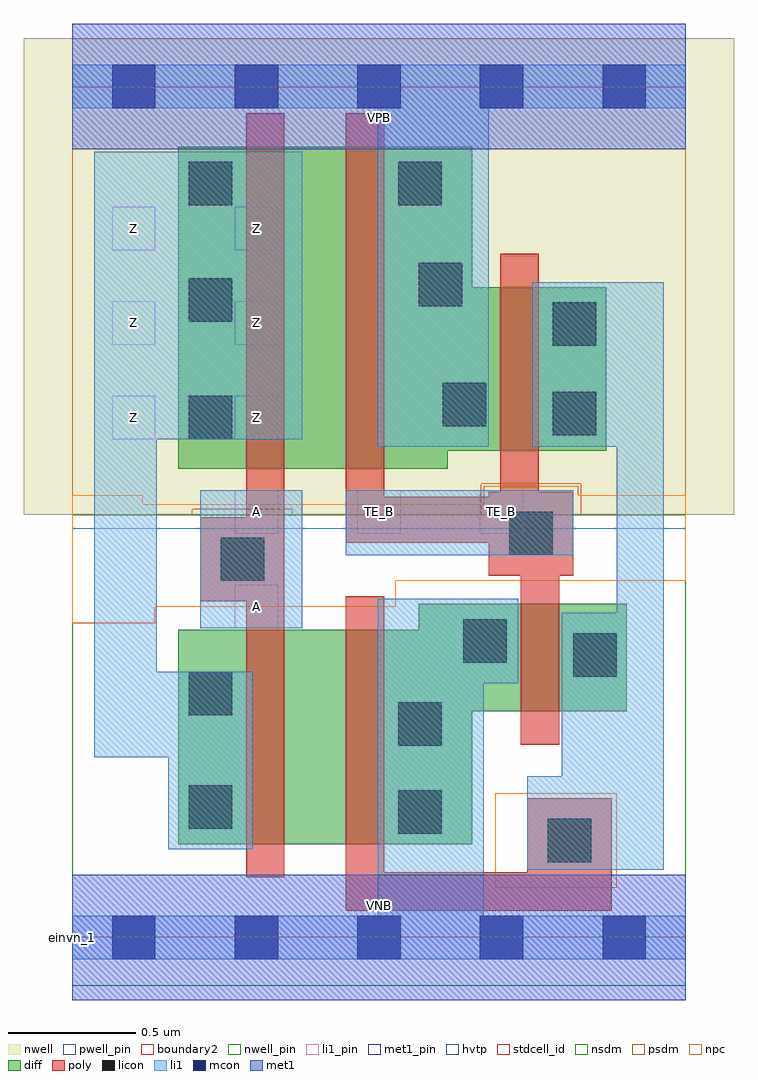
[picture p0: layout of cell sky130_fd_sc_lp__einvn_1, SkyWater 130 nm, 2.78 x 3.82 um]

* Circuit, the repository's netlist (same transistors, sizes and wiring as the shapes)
* Copyright 2020 The SkyWater PDK Authors
*
* Licensed under the Apache License, Version 2.0 (the "License");
* you may not use this file except in compliance with the License.
* You may obtain a copy of the License at
*
*     https://www.apache.org/licenses/LICENSE-2.0
*
* Unless required by applicable law or agreed to in writing, software
* distributed under the License is distributed on an "AS IS" BASIS,
* WITHOUT WARRANTIES OR CONDITIONS OF ANY KIND, either express or implied.
* See the License for the specific language governing permissions and
* limitations under the License.
*
* SPDX-License-Identifier: Apache-2.0

.SUBCKT sky130_fd_sc_lp__einvn_1 A TE_B VGND VNB VPB VPWR Z
*.PININFO A:I TE_B:I VGND:I VNB:I VPB:I VPWR:I Z:O
MMN0 Z A sndA VNB sky130_fd_pr__nfet_01v8 m=1 w=0.84U l=0.15U mult=1 sa=0.265 sb=0.265
+ sd=0.28 area=0.063 perim=1.14
MMN1 sndA net32 VGND VNB sky130_fd_pr__nfet_01v8 m=1 w=0.84U l=0.15U mult=1 sa=0.265
+ sb=0.265 sd=0.28 area=0.063 perim=1.14
MMIN1 net32 TE_B VGND VNB sky130_fd_pr__nfet_01v8 m=1 w=0.42U l=0.15U mult=1 sa=0.265
+ sb=0.265 sd=0.28 area=0.063 perim=1.14
MMP0 VPWR TE_B sndTEB VPB sky130_fd_pr__pfet_01v8_hvt m=1 w=1.26U l=0.15U mult=1
+ sa=0.265 sb=0.265 sd=0.28 area=0.063 perim=1.14
MMP1 sndTEB A Z VPB sky130_fd_pr__pfet_01v8_hvt m=1 w=1.26U l=0.15U mult=1 sa=0.265
+ sb=0.265 sd=0.28 area=0.063 perim=1.14
MMIP1 net32 TE_B VPWR VPB sky130_fd_pr__pfet_01v8_hvt m=1 w=0.64U l=0.15U mult=1
+ sa=0.265 sb=0.265 sd=0.28 area=0.063 perim=1.14
.ENDS sky130_fd_sc_lp__einvn_1

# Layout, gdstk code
import gdstk
lib = gdstk.Library(unit=1e-6, precision=1e-09)
def R(c, l, rs):  # rectangles x0, y0, x1, y1
    for r in rs: c.add(gdstk.rectangle(r[:2], r[2:], *l))
def A(c, l, x, y, w, h, nx, ny, dx, dy):  # array of equal rectangles
    R(c, l, [(x+i*dx, y+j*dy, x+i*dx+w, y+j*dy+h) for i in range(nx) for j in range(ny)])
def P(c, l, *ps):  # polygons
    for p in ps: c.add(gdstk.Polygon(p, *l))
nwell_pin = (64, 16)
nwell = (64, 20)
diff = (65, 20)
poly = (66, 20)
licon = (66, 44)
li1_pin = (67, 16)
li1 = (67, 20)
mcon = (67, 44)
met1_pin = (68, 16)
met1 = (68, 20)
hvtp = (78, 44)
stdcell_id = (81, 4)
nsdm = (93, 44)
psdm = (94, 20)
npc = (95, 20)
pwell_pin = (122, 16)
boundary2 = (236, 0)

sky130_fd_sc_lp__einvn_1 = lib.new_cell('sky130_fd_sc_lp__einvn_1')
R(sky130_fd_sc_lp__einvn_1, nwell_pin, [(0,3.085,2.4,3.33)])
R(sky130_fd_sc_lp__einvn_1, nwell, [(-0.19,1.655,2.59,3.52)])
P(sky130_fd_sc_lp__einvn_1, diff, [(2.09,2.545),(1.565,2.545),(1.565,3.095),(0.415,3.095),(0.415,1.835),(1.47,1.835),(1.47,1.905),(2.09,1.905)],
  [(2.17,1.305),(1.355,1.305),(1.355,1.205),(0.415,1.205),(0.415,0.365),(1.565,0.365),(1.565,0.885),(2.17,0.885)])
P(sky130_fd_sc_lp__einvn_1, poly, [(0.83,3.225),(0.68,3.225),(0.68,1.645),(0.5,1.645),(0.5,1.315),(0.68,1.315),(0.68,0.235),(0.83,0.235)],
  [(1.96,1.745),(1.825,1.745),(1.825,2.675),(1.675,2.675),(1.675,1.745),(1.63,1.745),(1.63,1.725),(1.22,1.725),(1.22,3.225),(1.07,3.225),(1.07,1.545),(1.63,1.545),(1.63,1.415),(1.755,1.415),(1.755,0.755),(1.905,0.755),(1.905,1.415),(1.96,1.415)],
  [(2.11,0.545),(1.78,0.545),(1.78,0.255),(1.22,0.255),(1.22,1.335),(1.07,1.335),(1.07,0.105),(2.11,0.105)])
R(sky130_fd_sc_lp__einvn_1, licon, [(1.86,0.295,2.03,0.465), (1.275,0.405,1.445,0.575), (0.455,0.425,0.625,0.595), (1.275,0.75,1.445,0.92), (0.455,0.87,0.625,1.04), (1.96,1.02,2.13,1.19), (1.53,1.075,1.7,1.245), (0.58,1.395,0.75,1.565), (1.71,1.495,1.88,1.665), (0.455,1.95,0.625,2.12), (1.88,1.965,2.05,2.135), (1.45,2,1.62,2.17), (1.88,2.315,2.05,2.485), (0.455,2.41,0.625,2.58), (1.355,2.47,1.525,2.64), (0.455,2.865,0.625,3.035), (1.275,2.865,1.445,3.035)])
A(sky130_fd_sc_lp__einvn_1, li1_pin, 0.635, 1.58, 0.17, 0.17, 3, 1, 0.48, 0)
A(sky130_fd_sc_lp__einvn_1, li1_pin, 0.155, 1.95, 0.17, 0.17, 1, 3, 0, 0.37)
A(sky130_fd_sc_lp__einvn_1, li1_pin, 0.635, 1.95, 0.17, 0.17, 1, 3, 0, 0.37)
R(sky130_fd_sc_lp__einvn_1, li1_pin, [(0.635,1.21,0.805,1.38)])
R(sky130_fd_sc_lp__einvn_1, li1, [(0.5,1.21,0.9,1.75), (1.07,1.495,1.96,1.75)])
P(sky130_fd_sc_lp__einvn_1, li1, [(0.9,3.075),(0.085,3.075),(0.085,0.705),(0.375,0.705),(0.375,0.345),(0.705,0.345),(0.705,1.04),(0.33,1.04),(0.33,1.95),(0.9,1.95)],
  [(2.315,2.565),(1.8,2.565),(1.8,1.92),(2.13,1.92),(2.13,1.27),(1.915,1.27),(1.915,0.63),(1.78,0.63),(1.78,0.265),(2.315,0.265)],
  [(2.4,3.415),(0,3.415),(0,3.245),(1.195,3.245),(1.195,1.92),(1.63,1.92),(1.63,3.245),(2.4,3.245)],
  [(2.4,0.085),(1.61,0.085),(1.61,0.995),(1.745,0.995),(1.745,1.325),(1.195,1.325),(1.195,0.085),(0,0.085),(0,-0.085),(2.4,-0.085)])
A(sky130_fd_sc_lp__einvn_1, mcon, 0.155, -0.085, 0.17, 0.17, 5, 2, 0.48, 3.33)
R(sky130_fd_sc_lp__einvn_1, met1_pin, [(0,0,2.4,0.245), (0,3.085,2.4,3.33)])
R(sky130_fd_sc_lp__einvn_1, met1, [(0,-0.245,2.4,0.245), (0,3.085,2.4,3.575)])
R(sky130_fd_sc_lp__einvn_1, hvtp, [(0,1.6,2.4,3.33)])
R(sky130_fd_sc_lp__einvn_1, stdcell_id, [(0,0,2.4,3.33)])
R(sky130_fd_sc_lp__einvn_1, nsdm, [(0,-0.19,2.4,1.655)])
P(sky130_fd_sc_lp__einvn_1, psdm, [(2.4,3.52),(0,3.52),(0,1.655),(0.47,1.655),(0.47,1.675),(0.86,1.675),(0.86,1.655),(1.6,1.655),(1.6,1.775),(1.99,1.775),(1.99,1.655),(2.4,1.655)])
R(sky130_fd_sc_lp__einvn_1, npc, [(1.655,0.195,2.13,0.565)])
P(sky130_fd_sc_lp__einvn_1, npc, [(2.4,1.73),(1.98,1.73),(1.98,1.765),(1.61,1.765),(1.61,1.695),(0.275,1.695),(0.275,1.73),(0,1.73),(0,1.23),(0.325,1.23),(0.325,1.295),(1.265,1.295),(1.265,1.395),(2.4,1.395)])
R(sky130_fd_sc_lp__einvn_1, pwell_pin, [(0,0,2.4,0.245)])
R(sky130_fd_sc_lp__einvn_1, boundary2, [(0,0,2.4,3.33)])
sky130_fd_sc_lp__einvn_1.add(gdstk.Label('VNB', (1.2,0.123), layer=64, texttype=59))
sky130_fd_sc_lp__einvn_1.add(gdstk.Label('VPB', (1.2,3.208), layer=64, texttype=5))
sky130_fd_sc_lp__einvn_1.add(gdstk.Label('einvn_1', (0,0), layer=83, texttype=44))
sky130_fd_sc_lp__einvn_1.add(gdstk.Label('VPWR', (1.2,3.208), layer=68, texttype=5))
sky130_fd_sc_lp__einvn_1.add(gdstk.Label('VGND', (1.2,0.123), layer=68, texttype=5))
sky130_fd_sc_lp__einvn_1.add(gdstk.Label('TE_B', (1.68,1.665), layer=67, texttype=5))
sky130_fd_sc_lp__einvn_1.add(gdstk.Label('Z', (0.24,2.035), layer=67, texttype=5))
sky130_fd_sc_lp__einvn_1.add(gdstk.Label('Z', (0.72,2.035), layer=67, texttype=5))
sky130_fd_sc_lp__einvn_1.add(gdstk.Label('Z', (0.24,2.405), layer=67, texttype=5))
sky130_fd_sc_lp__einvn_1.add(gdstk.Label('Z', (0.24,2.775), layer=67, texttype=5))
sky130_fd_sc_lp__einvn_1.add(gdstk.Label('A', (0.72,1.295), layer=67, texttype=5))
sky130_fd_sc_lp__einvn_1.add(gdstk.Label('A', (0.72,1.665), layer=67, texttype=5))
sky130_fd_sc_lp__einvn_1.add(gdstk.Label('TE_B', (1.2,1.665), layer=67, texttype=5))
sky130_fd_sc_lp__einvn_1.add(gdstk.Label('Z', (0.72,2.405), layer=67, texttype=5))
sky130_fd_sc_lp__einvn_1.add(gdstk.Label('Z', (0.72,2.775), layer=67, texttype=5))

lib.write_gds('sky130_fd_sc_lp__einvn_1.gds')
